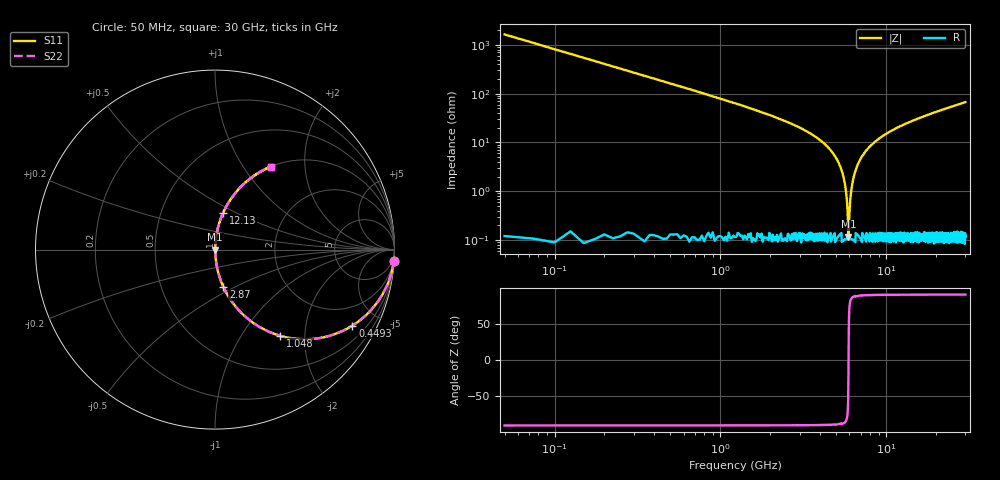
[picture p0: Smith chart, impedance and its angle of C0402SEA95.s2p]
# MHZ S MA R 50
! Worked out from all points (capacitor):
!   1201 points, 50 MHz to 30 GHz, reference 50 ohm
!   read as one part in series: C = 1.95 pF near 199.8 MHz
!   lowest |Z| = 117 mohm at 5.915 GHz (marker M1)
!   series resonance near 5.925 GHz, so ESL is about 370 pH
!   S11 on the Smith chart (normalised r, x): 50 MHz: 1, -33; 449.3 MHz: 1.00, -3.61; 1.048 GHz: 1.00, -1.51; 2.87 GHz: 1.00, -0.43; 12.13 GHz: 1.00, +0.43; 30 GHz: 1.00, +1.34
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50  0.998 -3.5  0.061 86.5  0.061 86.5  0.998 -3.5
274.625  0.947 -18.6  0.319 71.3  0.319 71.3  0.947 -18.6
449.333  0.875 -29.0  0.484 61.0  0.484 61.0  0.875 -29.0
1048.333  0.602 -52.9  0.798 37.0  0.798 37.0  0.602 -52.9
1772.125  0.386 -67.1  0.921 22.7  0.921 22.7  0.386 -67.1
2870.292  0.212 -77.4  0.976 12.3  0.976 12.3  0.212 -77.4
5041.667  0.045 -86.0  0.998 2.6  0.998 2.6  0.045 -86.0
5540.833  0.018 -85.3  0.999 1.1  0.999 1.1  0.018 -85.3
5690.583  0.011 -83.4  0.999 0.6  0.999 0.6  0.011 -83.4
5815.375  0.005268 -77.0  0.999 0.3  0.999 0.3  0.005268 -77.0
5915.208  0.001245 -21.4  0.999 0.0  0.999 0.0  0.001245 -21.4
6015.042  0.00431 74.2  0.999 -0.2  0.999 -0.2  0.00431 74.2
6164.792  0.011 83.3  0.999 -0.6  0.999 -0.6  0.011 83.3
6339.5  0.019 85.4  0.999 -1.1  0.999 -1.1  0.019 85.4
6938.5  0.044 86.0  0.998 -2.5  0.998 -2.5  0.044 86.0
8161.458  0.089 84.1  0.995 -5.1  0.995 -5.1  0.089 84.1
10058.29  0.151 80.9  0.987 -8.7  0.987 -8.7  0.151 80.9
12129.83  0.21 77.6  0.977 -12.1  0.977 -12.1  0.21 77.6
15025  0.283 73.4  0.958 -16.4  0.958 -16.4  0.283 73.4
20016.67  0.39 66.9  0.92 -23.0  0.92 -23.0  0.39 66.9
25033.29  0.481 61.1  0.876 -28.8  0.876 -28.8  0.481 61.1
30000  0.556 56.1  0.83 -33.8  0.83 -33.8  0.556 56.1
